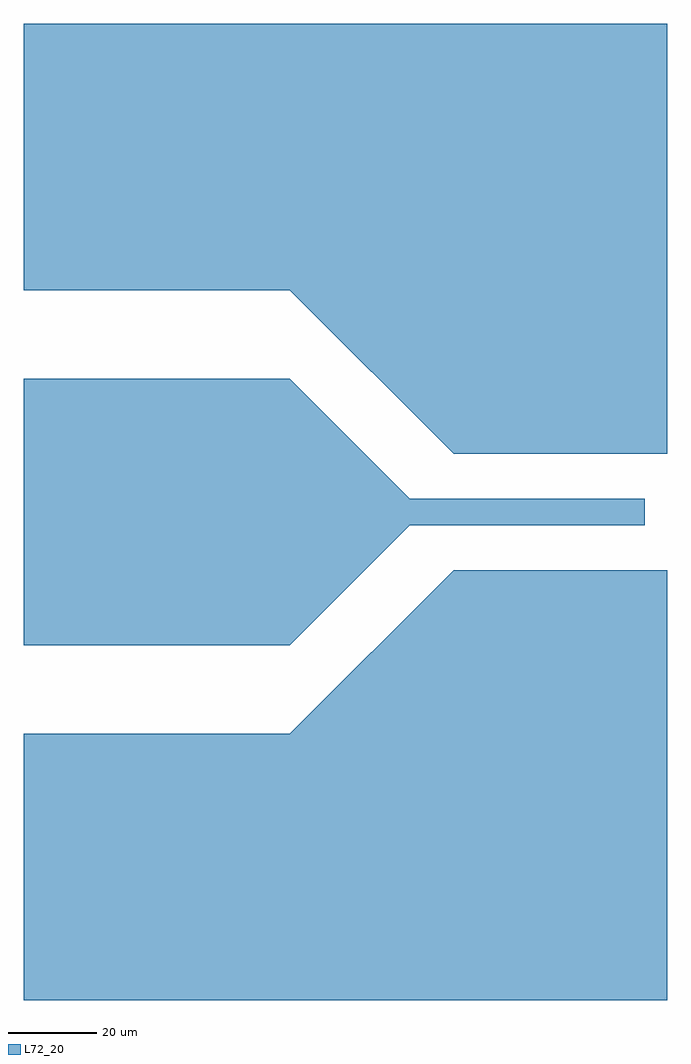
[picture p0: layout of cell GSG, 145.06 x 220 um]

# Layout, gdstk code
import gdstk
lib = gdstk.Library(unit=1e-6, precision=1e-09)
def R(c, l, rs):  # rectangles x0, y0, x1, y1
    for r in rs: c.add(gdstk.rectangle(r[:2], r[2:], *l))
def A(c, l, x, y, w, h, nx, ny, dx, dy):  # array of equal rectangles
    R(c, l, [(x+i*dx, y+j*dy, x+i*dx+w, y+j*dy+h) for i in range(nx) for j in range(ny)])
def P(c, l, *ps):  # polygons
    for p in ps: c.add(gdstk.Polygon(p, *l))
L72_20 = (72, 20)

gsg = lib.new_cell('GSG')
A(gsg, L72_20, 17.75, 13.595, 60, 60, 1, 3, 0, 80)
R(gsg, L72_20, [(77.75,120.595,157.75,126.595)])
P(gsg, L72_20, [(77.75,153.595),(104.75,126.595),(104.75,120.595),(77.75,93.595)],
  [(77.75,173.595),(114.63,136.715),(162.805,136.715),(162.805,233.595),(77.745,233.595),(77.745,173.595)],
  [(77.75,73.595),(114.63,110.475),(162.805,110.475),(162.805,13.595),(77.745,13.595),(77.745,73.595)])

lib.write_gds('GSG.gds')
